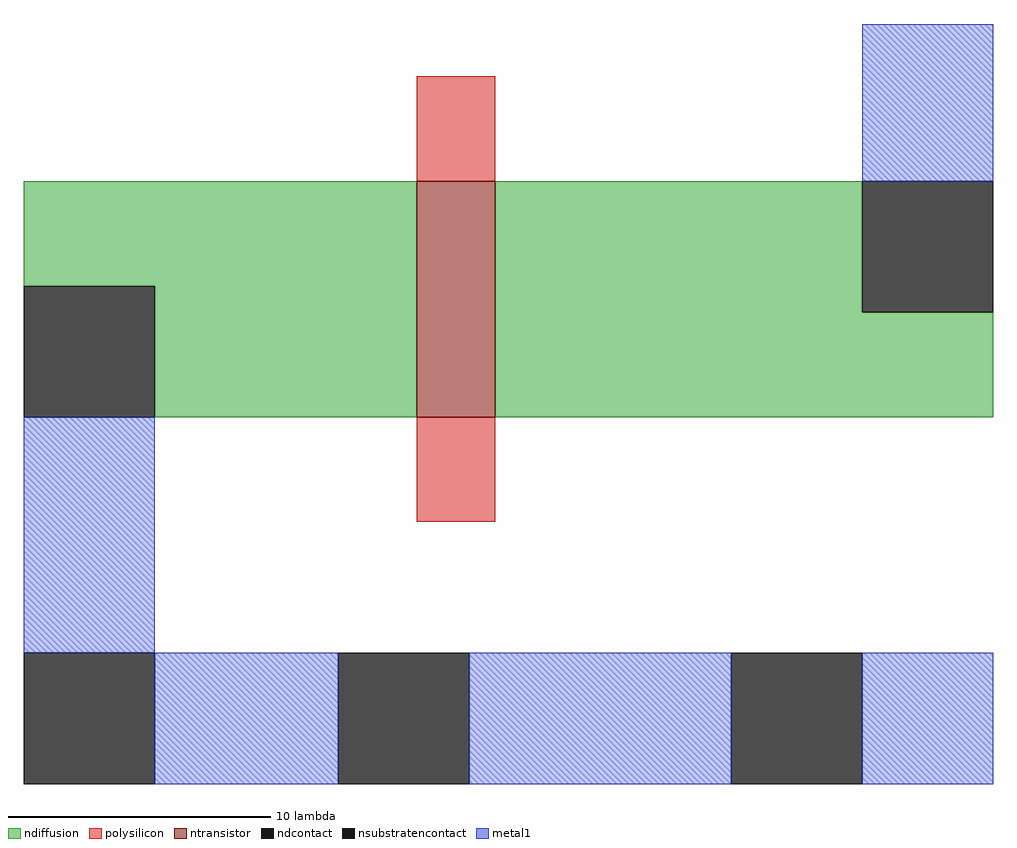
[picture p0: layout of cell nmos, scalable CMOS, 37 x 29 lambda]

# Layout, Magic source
magic
tech scmos
<< ntransistor >>
rect -4 -5 -1 4
<< ndiffusion >>
rect -19 0 -4 4
rect -14 -5 -4 0
rect -1 -1 13 4
rect -1 -5 18 -1
<< ndcontact >>
rect -19 -5 -14 0
rect 13 -1 18 4
<< nsubstratencontact >>
rect -19 -19 -14 -14
rect -7 -19 -2 -14
rect 8 -19 13 -14
<< polysilicon >>
rect -4 4 -1 8
rect -4 -9 -1 -5
<< metal1 >>
rect 13 4 18 10
rect -19 -14 -14 -5
rect -14 -19 -7 -14
rect -2 -19 8 -14
rect 13 -19 18 -14
<< end >>
